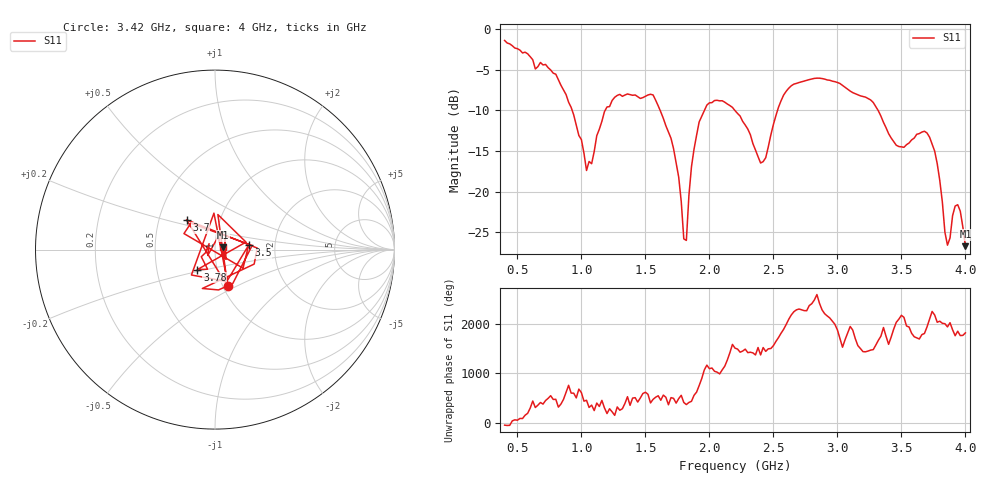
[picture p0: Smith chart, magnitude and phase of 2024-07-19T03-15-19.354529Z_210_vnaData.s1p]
!Created with skrf (http://scikit-rf.org).
# Hz S RI R 50.0
!freq ReS11 ImS11
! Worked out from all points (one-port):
!   181 points, 400 MHz to 4 GHz, reference 50 ohm
!   lowest |S11| = -26.7 dB at 4 GHz (marker M1), VSWR 1.10, Z = 54.6 + j1.29 ohm
!   |S11| at or under -10 dB: 1.615 GHz to 1.96 GHz (344.8 MHz wide, 19.3 % of centre); 2.2 GHz to 2.532 GHz (332.5 MHz wide, 14.1 % of centre); 3.318 GHz to end of sweep (the widest 3 of 4)
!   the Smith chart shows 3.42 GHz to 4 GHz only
!   S11 on the Smith chart (normalised r, x): 3.42 GHz: 1.06, -0.45; 3.5 GHz: 1.46, +0.07; 3.7 GHz: 0.69, +0.24; 3.78 GHz: 0.80, -0.18; 4 GHz: 1.09, +0.03
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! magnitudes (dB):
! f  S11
! 400 MHz  -1.4
! 860 MHz  -7.4
! 1 GHz  -13.6
! 1.04 GHz  -17.4
! 1.18 GHz  -10.1
! 1.3 GHz  -8.0
! 1.56 GHz  -8.1
! 1.7 GHz  -13.4
! 1.76 GHz  -18.2
! 1.8 GHz  -25.8
! 1.82 GHz  -26.0
! 1.86 GHz  -16.9
! 1.92 GHz  -11.4
! 2.04 GHz  -8.8
! 2.2 GHz  -10.0
! 2.4 GHz  -16.5
! 2.56 GHz  -8.8
! 2.66 GHz  -6.7
! 3.1 GHz  -7.6
! 3.28 GHz  -9.0
! 3.42 GHz  -13.4
! 3.5 GHz  -14.5
! 3.56 GHz  -14.0
! 3.7 GHz  -12.8
! 3.78 GHz  -16.6
! 3.86 GHz  -26.6
! 3.94 GHz  -21.6
! 4 GHz  -26.7
